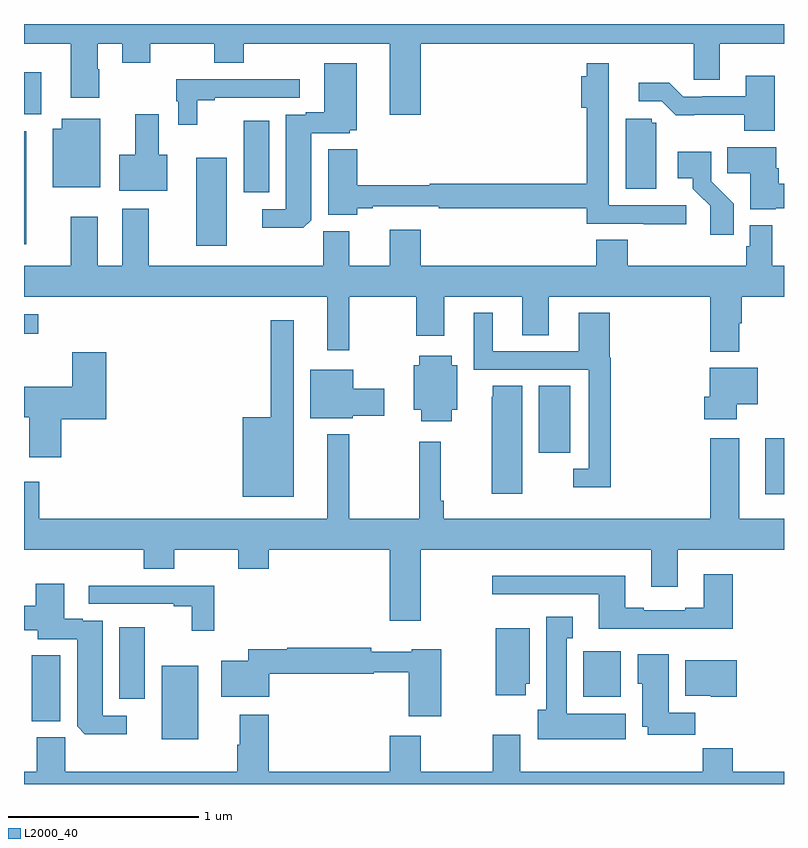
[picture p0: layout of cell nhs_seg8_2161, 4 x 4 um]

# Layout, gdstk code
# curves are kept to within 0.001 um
import gdstk
lib = gdstk.Library(unit=1e-6, precision=1e-09)
def R(c, l, rs):  # rectangles x0, y0, x1, y1
    for r in rs: c.add(gdstk.rectangle(r[:2], r[2:], *l))
def P(c, l, *ps):  # polygons
    for p in ps: c.add(gdstk.Polygon(p, *l))
L2000_40 = (2000, 40)

nhs_seg8_2161 = lib.new_cell('nhs_seg8_2161')
R(nhs_seg8_2161, L2000_40, [(247.724,1150.136,247.918,1150.522), (247.04,1150.231,247.192,1150.577), (247.502,1150.35,247.636,1150.726), (249.944,1150.358,250.141,1150.6), (250.901,1151.424,251,1151.719), (249.71,1151.643,249.874,1151.996), (247,1152.271,247.075,1152.372), (247.907,1152.732,248.068,1153.195), (247,1152.74,247.012,1153.336), (248.156,1153.014,248.29,1153.39), (247,1153.425,247.09,1153.645)])
P(nhs_seg8_2161, L2000_40, [(249.088,1153.796),(250.524,1153.796),(250.524,1153.606),(250.663,1153.606),(250.663,1153.796),(251,1153.796),(251,1153.9),(247,1153.9),(247,1153.796),(247.247,1153.796),(247.247,1153.512),(247.395,1153.512),(247.395,1153.662),(247.387,1153.662),(247.387,1153.796),(247.517,1153.796),(247.517,1153.697),(247.665,1153.697),(247.665,1153.796),(248.002,1153.796),(248.002,1153.697),(248.157,1153.697),(248.157,1153.796),(248.924,1153.796),(248.924,1153.422),(249.088,1153.422)],
  [(248.512,1152.868),(248.512,1153.326),(248.715,1153.326),(248.715,1153.34),(248.752,1153.34),(248.752,1153.693),(248.579,1153.693),(248.579,1153.435),(248.483,1153.435),(248.483,1153.422),(248.378,1153.422),(248.378,1152.924),(248.253,1152.924),(248.253,1152.827),(248.471,1152.827)],
  [(250.486,1152.945),(250.077,1152.945),(250.077,1153.47),(250.078,1153.47),(250.078,1153.693),(249.961,1153.693),(249.961,1153.624),(249.932,1153.624),(249.932,1153.459),(249.961,1153.459),(249.961,1153.058),(249.136,1153.058),(249.136,1153.051),(248.753,1153.051),(248.753,1153.241),(248.6,1153.241),(248.6,1152.895),(248.753,1152.895),(248.753,1152.93),(248.836,1152.93),(248.836,1152.942),(249.184,1152.942),(249.184,1152.93),(249.961,1152.93),(249.961,1152.849),(250.261,1152.849),(250.261,1152.847),(250.486,1152.847)],
  [(250.952,1153.627),(250.799,1153.627),(250.799,1153.521),(250.57,1153.521),(250.57,1153.518),(250.47,1153.518),(250.397,1153.591),(250.236,1153.591),(250.236,1153.494),(250.356,1153.494),(250.429,1153.421),(250.792,1153.422),(250.792,1153.337),(250.952,1153.337)],
  [(247.911,1153.5),(248.005,1153.5),(248.005,1153.512),(248.452,1153.512),(248.452,1153.608),(247.8,1153.608),(247.8,1153.494),(247.812,1153.494),(247.812,1153.371),(247.911,1153.371)],
  [(247.753,1153.213),(247.708,1153.213),(247.708,1153.426),(247.586,1153.426),(247.586,1153.213),(247.502,1153.213),(247.502,1153.022),(247.753,1153.022)],
  [(247.402,1153.402),(247.199,1153.402),(247.199,1153.348),(247.151,1153.348),(247.151,1153.04),(247.402,1153.04)],
  [(250.327,1153.38),(250.305,1153.38),(250.305,1153.401),(250.166,1153.401),(250.166,1153.032),(250.327,1153.032)],
  [(250.956,1152.93),(251,1152.93),(251,1153.058),(250.973,1153.058),(250.973,1153.142),(250.96,1153.142),(250.96,1153.252),(250.702,1153.252),(250.702,1153.114),(250.823,1153.114),(250.823,1152.926),(250.956,1152.926)],
  [(250.736,1152.954),(250.617,1153.073),(250.617,1153.228),(250.44,1153.228),(250.44,1153.088),(250.52,1153.088),(250.52,1153.033),(250.548,1153.005),(250.611,1152.943),(250.611,1152.792),(250.736,1152.792)],
  [(250.765,1152.326),(250.778,1152.326),(250.778,1152.464),(251,1152.464),(251,1152.628),(250.937,1152.628),(250.937,1152.841),(250.821,1152.841),(250.821,1152.729),(250.801,1152.729),(250.801,1152.628),(250.178,1152.628),(250.178,1152.764),(250.013,1152.764),(250.013,1152.628),(249.088,1152.628),(249.088,1152.817),(248.924,1152.817),(248.924,1152.628),(248.713,1152.628),(248.713,1152.81),(248.575,1152.81),(248.575,1152.628),(247.657,1152.628),(247.657,1152.928),(247.517,1152.928),(247.517,1152.628),(247.387,1152.628),(247.387,1152.886),(247.247,1152.886),(247.247,1152.628),(247,1152.628),(247,1152.464),(248.597,1152.464),(248.597,1152.183),(248.711,1152.183),(248.711,1152.464),(249.064,1152.464),(249.064,1152.258),(249.211,1152.258),(249.211,1152.464),(249.623,1152.464),(249.623,1152.262),(249.763,1152.262),(249.763,1152.464),(250.613,1152.464),(250.613,1152.176),(250.765,1152.176)],
  [(250.088,1152.144),(250.082,1152.144),(250.082,1152.379),(249.92,1152.379),(249.92,1152.177),(249.466,1152.177),(249.466,1152.379),(249.368,1152.379),(249.368,1152.081),(249.972,1152.081),(249.972,1151.559),(249.891,1151.559),(249.891,1151.462),(250.088,1151.462)],
  [(248.419,1152.34),(248.298,1152.34),(248.298,1151.83),(248.15,1151.83),(248.15,1151.411),(248.419,1151.411)],
  [(247.196,1151.819),(247.433,1151.819),(247.433,1152.172),(247.255,1152.172),(247.255,1151.992),(247,1151.992),(247,1151.83),(247.028,1151.83),(247.028,1151.619),(247.196,1151.619)],
  [(249.25,1151.87),(249.28,1151.87),(249.28,1152.103),(249.25,1152.103),(249.25,1152.154),(249.08,1152.154),(249.08,1152.103),(249.05,1152.103),(249.05,1151.87),(249.092,1151.87),(249.092,1151.81),(249.25,1151.81)],
  [(250.75,1151.9),(250.861,1151.9),(250.861,1152.091),(250.61,1152.091),(250.61,1151.937),(250.58,1151.937),(250.58,1151.819),(250.75,1151.819)],
  [(248.73,1151.837),(248.896,1151.837),(248.896,1151.979),(248.734,1151.979),(248.734,1152.079),(248.507,1152.079),(248.507,1151.825),(248.73,1151.825)],
  [(249.622,1151.996),(249.467,1151.996),(249.467,1151.937),(249.461,1151.937),(249.461,1151.427),(249.622,1151.427)],
  [(249.088,1151.132),(250.301,1151.132),(250.301,1150.938),(250.441,1150.938),(250.441,1151.132),(251,1151.132),(251,1151.296),(250.765,1151.296),(250.765,1151.719),(250.613,1151.719),(250.613,1151.296),(249.209,1151.296),(249.209,1151.392),(249.194,1151.392),(249.194,1151.701),(249.081,1151.701),(249.081,1151.296),(248.711,1151.296),(248.711,1151.74),(248.597,1151.74),(248.597,1151.296),(247.079,1151.296),(247.079,1151.491),(247,1151.491),(247,1151.132),(247.631,1151.132),(247.631,1151.033),(247.791,1151.033),(247.791,1151.132),(248.128,1151.132),(248.128,1151.033),(248.288,1151.033),(248.288,1151.132),(248.924,1151.132),(248.924,1150.758),(249.088,1150.758)],
  [(250.73,1151.005),(250.577,1151.005),(250.577,1150.828),(250.481,1150.828),(250.481,1150.815),(250.261,1150.815),(250.261,1150.828),(250.165,1150.828),(250.165,1150.996),(249.465,1150.996),(249.465,1150.899),(250.025,1150.899),(250.025,1150.718),(250.73,1150.718)],
  [(247.54,1150.26),(247.414,1150.26),(247.414,1150.758),(247.31,1150.758),(247.31,1150.771),(247.213,1150.771),(247.213,1150.954),(247.061,1150.954),(247.061,1150.839),(247,1150.839),(247,1150.709),(247.073,1150.709),(247.073,1150.662),(247.28,1150.662),(247.28,1150.204),(247.321,1150.163),(247.54,1150.163)],
  [(248,1150.944),(247.341,1150.944),(247.341,1150.848),(247.787,1150.848),(247.787,1150.836),(247.882,1150.836),(247.882,1150.707),(248,1150.707)],
  [(250.168,1150.27),(249.856,1150.27),(249.856,1150.667),(249.889,1150.667),(249.889,1150.78),(249.749,1150.78),(249.749,1150.29),(249.704,1150.29),(249.704,1150.136),(250.168,1150.136)],
  [(249.64,1150.428),(249.661,1150.428),(249.661,1150.72),(249.482,1150.72),(249.482,1150.368),(249.64,1150.368)],
  [(249.196,1150.609),(249.042,1150.609),(249.042,1150.597),(248.828,1150.597),(248.828,1150.616),(248.386,1150.616),(248.386,1150.609),(248.18,1150.609),(248.18,1150.549),(248.039,1150.549),(248.039,1150.358),(248.29,1150.358),(248.29,1150.48),(248.842,1150.48),(248.842,1150.488),(249.026,1150.488),(249.026,1150.257),(249.196,1150.257)],
  [(250.532,1150.276),(250.393,1150.276),(250.393,1150.582),(250.229,1150.582),(250.229,1150.428),(250.253,1150.428),(250.253,1150.202),(250.283,1150.202),(250.283,1150.158),(250.532,1150.158)],
  [(250.75,1150.552),(250.481,1150.552),(250.481,1150.364),(250.614,1150.364),(250.614,1150.358),(250.75,1150.358)],
  [(251,1149.964),(250.73,1149.964),(250.73,1150.088),(250.573,1150.088),(250.573,1149.964),(249.613,1149.964),(249.613,1150.159),(249.466,1150.159),(249.466,1149.964),(249.088,1149.964),(249.088,1150.153),(248.924,1150.153),(248.924,1149.964),(248.288,1149.964),(248.288,1150.264),(248.135,1150.264),(248.135,1150.106),(248.123,1150.106),(248.123,1149.964),(247.217,1149.964),(247.217,1150.146),(247.067,1150.146),(247.067,1149.964),(247,1149.964),(247,1149.9),(251,1149.9)])

lib.write_gds('nhs_seg8_2161.gds')
